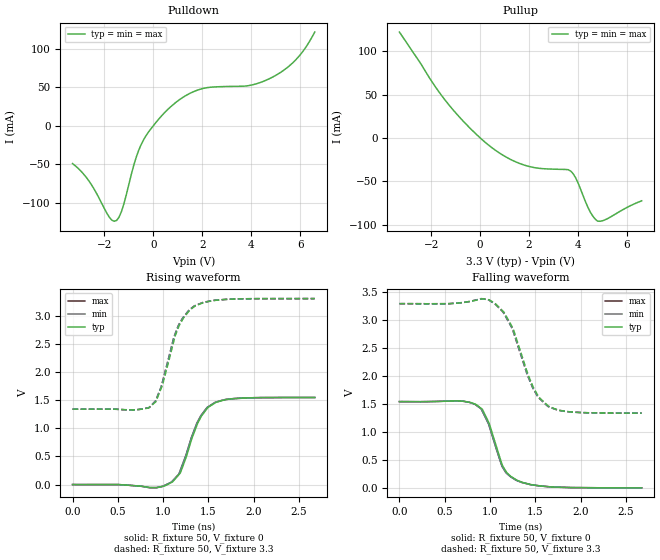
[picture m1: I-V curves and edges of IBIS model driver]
| IBIS file ex2_fast_5ps_tr20ps.ibs created by PYS2IBIS3
| Missouri S&T EMC Lab
[IBIS Ver] 7.1
[File Name] ex2_fast_5ps_tr20ps.ibs
[File Rev] 1.0
[Date] July 28, 2026
[Source] ex2 buffer.sp characterized with s2ibispy and HSPICE
[Notes] Parameter selection; sim_time=2.673e-09, tr=tf=2.000e-11.
[Disclaimer] Experimental characterization for pybis observability study.
[Component] MCM Driver 1
[Manufacturer] MegaFLOPS Inc.
[Package]
| variable   typ   min   max
R_pkg 0 NA NA
L_pkg 0H NA NA
C_pkg 0F NA NA
[Pin]  signal_name   model_name   R_pin   L_pin   C_pin
vdd   vdd   POWER
gnd   gnd   GND
| in in dummy
out   out   driver
| End of Component
| Models and submodels in the file (1): driver (Output)
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[Model] driver
Model_type Output
Polarity Non-Inverting
Enable Active-Low
Vinl  = 0.8V
Vinh  = 2V
C_comp 5.0000pF 5.0000pF 5.0000pF
[Temperature Range] 27.0000 27.0000 27.0000
[Voltage Range] 3.3000V 3.3000V 3.3000V
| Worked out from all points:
|   slope of the pulldown table from 0 to 0.495 V, typ, clamps not added: 27.4 ohm
|   slope of the pullup table from 0 to 0.495 V, typ, clamps not added: 42.7 ohm
|   rising waveform, R_fixture 50, V_fixture 0: 20-80 % time 219ps typ, 220ps min, 220ps max; typ from 0 V to 1.54 V
|   rising waveform, R_fixture 50, V_fixture 3.3: 20-80 % time 221ps typ, 220ps min, 220ps max; typ from 1.34 V to 3.3 V
|   falling waveform, R_fixture 50, V_fixture 0: 20-80 % time 203ps typ, 205ps min, 205ps max; typ from 1.54 V to 0 V
|   falling waveform, R_fixture 50, V_fixture 3.3: 20-80 % time 265ps typ, 265ps min, 265ps max; typ from 3.3 V to 1.34 V
[Pulldown]
| Voltage   I(typ)   I(min)   I(max)
-3.3V     -48.93mA   -48.93mA   -48.93mA
-2.6V     -72.86mA   -72.86mA   -72.86mA
-1.8V     -118.2mA   -118.2mA   -118.2mA
-1.5V     -122.5mA   -122.5mA   -122.5mA
-1.3V     -110.9mA   -110.9mA   -110.9mA
-500mV    -24.59mA   -24.59mA   -24.59mA
600mV     21.34mA    21.34mA    21.34mA
1.9V      47.12mA    47.12mA    47.12mA
3.9V      51.99mA    51.99mA    51.99mA
4.9V      63.38mA    63.38mA    63.38mA
5.9V      87.99mA    87.99mA    87.99mA
6.6V      121.3mA    121.3mA    121.3mA
[Pullup]
| Voltage   I(typ)   I(min)   I(max)
-3.3V     122mA      122mA      122mA
-1.9V     61.75mA    61.75mA    61.75mA
-1.3V     38.86mA    38.86mA    38.86mA
-200mV    5.278mA    5.278mA    5.278mA
700mV     -15.75mA   -15.75mA   -15.75mA
2V        -32.92mA   -32.92mA   -32.92mA
3.7V      -38.24mA   -38.24mA   -38.24mA
3.9V      -45.89mA   -45.89mA   -45.89mA
4.5V      -85.43mA   -85.43mA   -85.43mA
4.8V      -95.97mA   -95.97mA   -95.97mA
5.1V      -94.48mA   -94.48mA   -94.48mA
6.6V      -72.53mA   -72.53mA   -72.53mA
[Ramp]
| variable   typ   min   max
dV/dt_r 0.9270/0.2187n 0.9270/0.2195n 0.9270/0.2195n
dV/dt_f 1.1766/0.2651n 1.1766/0.2652n 1.1766/0.2652n
R_load = 50
[Rising Waveform]
R_fixture = 50
V_fixture = 0
|time   V(typ)   V(min)   V(max)
0s        7.302nV    7.302nV    7.302nV
853.4ps   -51.21mV   -56.61mV   -56.61mV
1.017ns   -24.83mV   -15.04mV   -15.04mV
1.094ns   37.23mV    47.88mV    47.88mV
1.188ns   201.7mV    245.8mV    245.8mV
1.372ns   1.059V     1.091V     1.091V
1.493ns   1.366V     1.376V     1.376V
1.57ns    1.448V     1.457V     1.457V
1.862ns   1.535V     1.534V     1.534V
2.673ns   1.545V     1.545V     1.545V
[Rising Waveform]
R_fixture = 50
V_fixture = 3.3
|time   V(typ)   V(min)   V(max)
0s        1.338V     1.338V     1.338V
848.1ps   1.373V     1.37V      1.37V
915ps     1.462V     1.483V     1.483V
987.2ps   1.738V     1.791V     1.791V
1.118ns   2.56V      2.616V     2.616V
1.166ns   2.781V     2.818V     2.818V
1.22ns    2.947V     2.965V     2.965V
1.346ns   3.161V     3.171V     3.171V
1.648ns   3.282V     3.283V     3.283V
2.673ns   3.3V       3.3V       3.3V
[Falling Waveform]
R_fixture = 50
V_fixture = 0
|time   V(typ)   V(min)   V(max)
0s        1.545V     1.545V     1.545V
684.9ps   1.555V     1.555V     1.555V
845.4ps   1.495V     1.483V     1.483V
901.6ps   1.424V     1.416V     1.416V
989.9ps   1.158V     1.113V     1.113V
1.129ns   433mV      394.7mV    394.7mV
1.183ns   274.6mV    260.5mV    260.5mV
1.34ns    106.8mV    101mV      101mV
1.675ns   15.3mV     14.8mV     14.8mV
2.673ns   81.99uV    78.21uV    78.21uV
[Falling Waveform]
R_fixture = 50
V_fixture = 3.3
|time   V(typ)   V(min)   V(max)
0s        3.3V       3.3V       3.3V
992.5ps   3.368V     3.359V     3.359V
1.145ns   3.163V     3.147V     3.147V
1.252ns   2.861V     2.821V     2.821V
1.41ns    2.074V     2.03V      2.03V
1.466ns   1.843V     1.808V     1.808V
1.538ns   1.625V     1.611V     1.611V
1.637ns   1.474V     1.461V     1.461V
1.913ns   1.357V     1.356V     1.356V
2.673ns   1.339V     1.339V     1.339V
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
